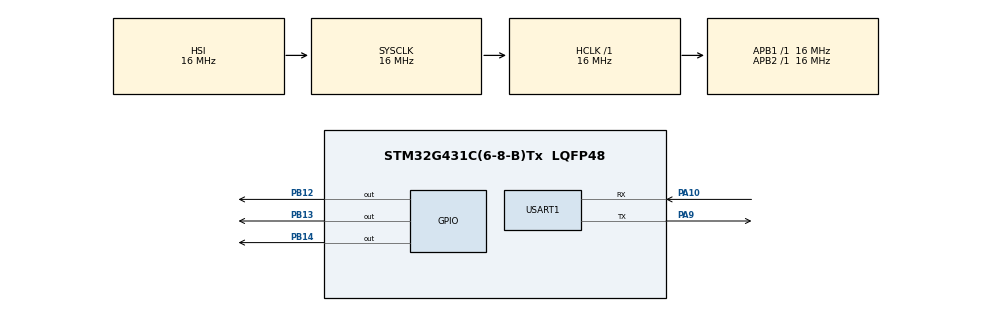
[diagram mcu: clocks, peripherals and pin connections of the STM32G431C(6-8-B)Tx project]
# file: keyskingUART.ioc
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Dma.Request0=USART1_RX
Dma.Request1=USART1_TX
Dma.USART1_RX.0.Direction=DMA_PERIPH_TO_MEMORY
Dma.USART1_RX.0.EventEnable=DISABLE
Dma.USART1_RX.0.Instance=DMA1_Channel1
Dma.USART1_RX.0.MemDataAlignment=DMA_MDATAALIGN_BYTE
Dma.USART1_RX.0.MemInc=DMA_MINC_ENABLE
Dma.USART1_RX.0.Mode=DMA_NORMAL
Dma.USART1_RX.0.PeriphDataAlignment=DMA_PDATAALIGN_BYTE
Dma.USART1_RX.0.PeriphInc=DMA_PINC_DISABLE
Dma.USART1_RX.0.Polarity=HAL_DMAMUX_REQ_GEN_RISING
Dma.USART1_RX.0.Priority=DMA_PRIORITY_LOW
Dma.USART1_RX.0.RequestNumber=1
Dma.USART1_RX.0.SignalID=NONE
Dma.USART1_RX.0.SyncEnable=DISABLE
Dma.USART1_RX.0.SyncPolarity=HAL_DMAMUX_SYNC_NO_EVENT
Dma.USART1_RX.0.SyncRequestNumber=1
Dma.USART1_RX.0.SyncSignalID=NONE
Dma.USART1_TX.1.Direction=DMA_MEMORY_TO_PERIPH
Dma.USART1_TX.1.EventEnable=DISABLE
Dma.USART1_TX.1.Instance=DMA1_Channel2
Dma.USART1_TX.1.MemDataAlignment=DMA_MDATAALIGN_BYTE
Dma.USART1_TX.1.MemInc=DMA_MINC_ENABLE
Dma.USART1_TX.1.Mode=DMA_NORMAL
Dma.USART1_TX.1.PeriphDataAlignment=DMA_PDATAALIGN_BYTE
Dma.USART1_TX.1.PeriphInc=DMA_PINC_DISABLE
Dma.USART1_TX.1.Polarity=HAL_DMAMUX_REQ_GEN_RISING
Dma.USART1_TX.1.Priority=DMA_PRIORITY_LOW
Dma.USART1_TX.1.RequestNumber=1
Dma.USART1_TX.1.SignalID=NONE
Dma.USART1_TX.1.SyncEnable=DISABLE
Dma.USART1_TX.1.SyncPolarity=HAL_DMAMUX_SYNC_NO_EVENT
Dma.USART1_TX.1.SyncRequestNumber=1
Dma.USART1_TX.1.SyncSignalID=NONE
Mcu.Family=STM32G4
Mcu.Name=STM32G431C(6-8-B)Tx
Mcu.Package=LQFP48
NVIC.DMA1_Channel1_IRQn=true\:0\:0\:false\:false\:true\:false\:true\:true
NVIC.DMA1_Channel2_IRQn=true\:0\:0\:false\:false\:true\:false\:true\:true
NVIC.PriorityGroup=NVIC_PRIORITYGROUP_4
NVIC.USART1_IRQn=true\:0\:0\:false\:false\:true\:true\:true\:true
PA10.Mode=Asynchronous
PA10.Signal=USART1_RX
PA13.Mode=Serial_Wire
PA13.Signal=SYS_JTMS-SWDIO
PA14.Mode=Serial_Wire
PA14.Signal=SYS_JTCK-SWCLK
PA9.Mode=Asynchronous
PA9.Signal=USART1_TX
PB12.Signal=GPIO_Output
PB13.Signal=GPIO_Output
PB14.Signal=GPIO_Output
ProjectManager.HeapSize=0x200
ProjectManager.StackSize=0x400
ProjectManager.TargetToolchain=CMake
RCC.AHBFreq_Value=16000000
RCC.APB1Freq_Value=16000000
RCC.APB1TimFreq_Value=16000000
RCC.APB2Freq_Value=16000000
RCC.APB2TimFreq_Value=16000000
RCC.CortexFreq_Value=16000000
RCC.EXTERNAL_CLOCK_VALUE=12288000
RCC.HCLKFreq_Value=16000000
RCC.HSE_VALUE=8000000
RCC.HSI48_VALUE=48000000
RCC.HSI_VALUE=16000000
RCC.LSE_VALUE=32768
RCC.SYSCLKFreq_VALUE=16000000
RCC.USBFreq_Value=64000000
RCC.VCOOutputFreq_Value=128000000
USART1.VirtualMode-Asynchronous=VM_ASYNC
VP_SYS_VS_DBSignals.Mode=DisableDeadBatterySignals
board=custom

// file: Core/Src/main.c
/* USER CODE BEGIN Header */
/**
  ******************************************************************************
  * @file           : main.c
  * @brief          : Main program body
  ******************************************************************************
  * @attention
  *
  * Copyright (c) 2025 STMicroelectronics.
  * All rights reserved.
  *
  * This software is licensed under terms that can be found in the LICENSE file
  * in the root directory of this software component.
  * If no LICENSE file comes with this software, it is provided AS-IS.
  *
  ******************************************************************************
  */
/* USER CODE END Header */
#include "main.h"

UART_HandleTypeDef huart1;
DMA_HandleTypeDef hdma_usart1_rx;
DMA_HandleTypeDef hdma_usart1_tx;

/* USER CODE BEGIN PV */
uint8_t Data[10];
/* USER CODE END PV */

void SystemClock_Config(void);
static void MX_GPIO_Init(void);
static void MX_DMA_Init(void);
static void MX_USART1_UART_Init(void);

/* USER CODE BEGIN 0 */
//接受指定长度的数据之后会调用这个函数，执行里面的内容

void HAL_UART_RxCpltCallback(UART_HandleTypeDef *huart) {
  HAL_UART_Transmit_DMA(&huart1,Data,2);
  GPIO_PinState state = GPIO_PIN_SET;
  if (Data[1] == '1') {
    state = GPIO_PIN_SET;
    if (Data[0] == 'R') {
      HAL_GPIO_WritePin(GPIOB, GPIO_PIN_12, state);
    }
    if (Data[0] == 'Y') {
      HAL_GPIO_WritePin(GPIOB, GPIO_PIN_13, state);
    }
    if (Data[0] == 'G') {
      HAL_GPIO_WritePin(GPIOB, GPIO_PIN_14, state);
    }

  } else if (Data[1] == '0') {
    state = GPIO_PIN_RESET;
    HAL_GPIO_WritePin(GPIOB, GPIO_PIN_13, state);
    HAL_GPIO_WritePin(GPIOB, GPIO_PIN_12, state);
    HAL_GPIO_WritePin(GPIOB, GPIO_PIN_14, state);
  }
  HAL_UART_Receive_DMA(&huart1,Data,2);
  // //填写一次能接收的最大数据长度，一般写接收数组的长度

}

  void HAL_UARTEx_RxEventCallback(UART_HandleTypeDef *huart,uint16_t Size) {
    if (huart == &huart1) {
      HAL_UART_Transmit_DMA(&huart1,Data,Size);

      HAL_UARTEx_ReceiveToIdle_DMA(&huart1,Data,10);
      __HAL_DMA_DISABLE_IT(&hdma_usart1_rx,DMA_IT_HT);

    }
  }

/* USER CODE END 0 */

int main(void)
{

  /* MCU Configuration--------------------------------------------------------*/

  /* Reset of all peripherals, Initializes the Flash interface and the Systick. */
  HAL_Init();

  /* Configure the system clock */
  SystemClock_Config();

  /* Initialize all configured peripherals */
  MX_GPIO_Init();
  MX_DMA_Init();
  MX_USART1_UART_Init();
  /* USER CODE BEGIN 2 */
  // char message[] = "Hello World!";
  //开启中断接受会继续向下执行，不知道有没有接受完，需要使用中断处理函数。
  //但是这样子只能接收一次，再他写到回调函数里面去，执行完一次就再执行一次
  //
  // HAL_UART_Receive_DMA(&huart1,Data,2);
  //不定长
  HAL_UARTEx_ReceiveToIdle_DMA(&huart1,Data,sizeof(Data));
  __HAL_DMA_DISABLE_IT(&hdma_usart1_rx,DMA_IT_HT);

  /* USER CODE END 2 */

  /* Infinite loop */
  /* USER CODE BEGIN WHILE */
  while (1)
  {
    //运用中断之后这里可以假装很忙的样子！
    // HAL_UART_Transmit(&huart1, (uint8_t *)message, strlen(message),100);
    // HAL_Delay(1000);
    // HAL_UART_Receive(&huart1,Data,2,HAL_MAX_DELAY);
    //接收中断并不会堵塞，完成一次循环会不知道是否接收完，所以要放在while循环前面，只执行一次。

    // HAL_UART_Transmit(&huart1,Data,2,HAL_MAX_DELAY);

    // //还可以用switch—case语句写
    // if (Data[1] == '1') {
    //   // 点亮指定的灯
    //   GPIO_PinState state = GPIO_PIN_SET;
    //   switch (Data[0]) {
    //     case 'R':
    //       HAL_GPIO_WritePin(GPIOB, GPIO_PIN_12, state);
    //       break;
    //     case 'Y':
    //       HAL_GPIO_WritePin(GPIOB, GPIO_PIN_13, state);
    //       break;
    //     case 'G':
    //       HAL_GPIO_WritePin(GPIOB, GPIO_PIN_14, state);
    //       break;
    //     default:
    //       break;
    //   }
    // }
    // else if (Data[1] == '0') {
    //   // 熄灭所有灯
    //   HAL_GPIO_WritePin(GPIOB, GPIO_PIN_12, GPIO_PIN_RESET);
    //   HAL_GPIO_WritePin(GPIOB, GPIO_PIN_13, GPIO_PIN_RESET);
    //   HAL_GPIO_WritePin(GPIOB, GPIO_PIN_14,GPIO_PIN_RESET);
    // }

    /* USER CODE END WHILE */

  }
}

void SystemClock_Config(void)
{
  RCC_OscInitTypeDef RCC_OscInitStruct = {0};
  RCC_ClkInitTypeDef RCC_ClkInitStruct = {0};

  /** Configure the main internal regulator output voltage
  */
  HAL_PWREx_ControlVoltageScaling(PWR_REGULATOR_VOLTAGE_SCALE1);

  /** Initializes the RCC Oscillators according to the specified parameters
  * in the RCC_OscInitTypeDef structure.
  */
  RCC_OscInitStruct.OscillatorType = RCC_OSCILLATORTYPE_HSI;
  RCC_OscInitStruct.HSIState = RCC_HSI_ON;
  RCC_OscInitStruct.HSICalibrationValue = RCC_HSICALIBRATION_DEFAULT;
  RCC_OscInitStruct.PLL.PLLState = RCC_PLL_NONE;
  if (HAL_RCC_OscConfig(&RCC_OscInitStruct) != HAL_OK)
  {
    Error_Handler();
  }

  /** Initializes the CPU, AHB and APB buses clocks
  */
  RCC_ClkInitStruct.ClockType = RCC_CLOCKTYPE_HCLK|RCC_CLOCKTYPE_SYSCLK
                              |RCC_CLOCKTYPE_PCLK1|RCC_CLOCKTYPE_PCLK2;
  RCC_ClkInitStruct.SYSCLKSource = RCC_SYSCLKSOURCE_HSI;
  RCC_ClkInitStruct.AHBCLKDivider = RCC_SYSCLK_DIV1;
  RCC_ClkInitStruct.APB1CLKDivider = RCC_HCLK_DIV1;
  RCC_ClkInitStruct.APB2CLKDivider = RCC_HCLK_DIV1;

  if (HAL_RCC_ClockConfig(&RCC_ClkInitStruct, FLASH_LATENCY_0) != HAL_OK)
  {
    Error_Handler();
  }
}

static void MX_USART1_UART_Init(void)
{

  huart1.Instance = USART1;
  huart1.Init.BaudRate = 115200;
  huart1.Init.WordLength = UART_WORDLENGTH_8B;
  huart1.Init.StopBits = UART_STOPBITS_1;
  huart1.Init.Parity = UART_PARITY_NONE;
  huart1.Init.Mode = UART_MODE_TX_RX;
  huart1.Init.HwFlowCtl = UART_HWCONTROL_NONE;
  huart1.Init.OverSampling = UART_OVERSAMPLING_16;
  huart1.Init.OneBitSampling = UART_ONE_BIT_SAMPLE_DISABLE;
  huart1.Init.ClockPrescaler = UART_PRESCALER_DIV1;
  huart1.AdvancedInit.AdvFeatureInit = UART_ADVFEATURE_NO_INIT;
  if (HAL_UART_Init(&huart1) != HAL_OK)
  {
    Error_Handler();
  }
  if (HAL_UARTEx_SetTxFifoThreshold(&huart1, UART_TXFIFO_THRESHOLD_1_8) != HAL_OK)
  {
    Error_Handler();
  }
  if (HAL_UARTEx_SetRxFifoThreshold(&huart1, UART_RXFIFO_THRESHOLD_1_8) != HAL_OK)
  {
    Error_Handler();
  }
  if (HAL_UARTEx_DisableFifoMode(&huart1) != HAL_OK)
  {
    Error_Handler();
  }

}

static void MX_DMA_Init(void)
{

  /* DMA controller clock enable */
  __HAL_RCC_DMAMUX1_CLK_ENABLE();
  __HAL_RCC_DMA1_CLK_ENABLE();

  /* DMA interrupt init */
  /* DMA1_Channel1_IRQn interrupt configuration */
  HAL_NVIC_SetPriority(DMA1_Channel1_IRQn, 0, 0);
  HAL_NVIC_EnableIRQ(DMA1_Channel1_IRQn);
  /* DMA1_Channel2_IRQn interrupt configuration */
  HAL_NVIC_SetPriority(DMA1_Channel2_IRQn, 0, 0);
  HAL_NVIC_EnableIRQ(DMA1_Channel2_IRQn);

}

static void MX_GPIO_Init(void)
{
  GPIO_InitTypeDef GPIO_InitStruct = {0};

  /* GPIO Ports Clock Enable */
  __HAL_RCC_GPIOB_CLK_ENABLE();
  __HAL_RCC_GPIOA_CLK_ENABLE();

  /*Configure GPIO pin Output Level */
  HAL_GPIO_WritePin(GPIOB, GPIO_PIN_12|GPIO_PIN_13|GPIO_PIN_14, GPIO_PIN_RESET);

  /*Configure GPIO pins : PB12 PB13 PB14 */
  GPIO_InitStruct.Pin = GPIO_PIN_12|GPIO_PIN_13|GPIO_PIN_14;
  GPIO_InitStruct.Mode = GPIO_MODE_OUTPUT_PP;
  GPIO_InitStruct.Pull = GPIO_NOPULL;
  GPIO_InitStruct.Speed = GPIO_SPEED_FREQ_LOW;
  HAL_GPIO_Init(GPIOB, &GPIO_InitStruct);

}

void Error_Handler(void)
{
  __disable_irq();
  while (1)
  {
  }
}
